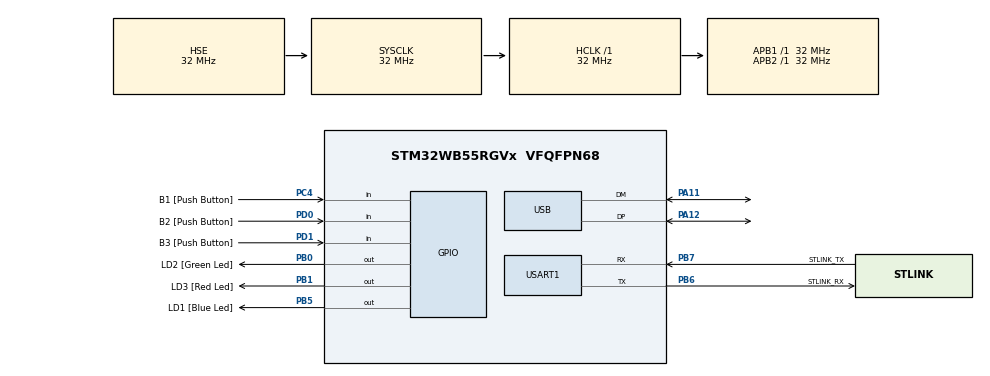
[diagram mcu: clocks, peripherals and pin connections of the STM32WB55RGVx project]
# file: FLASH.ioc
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Mcu.Family=STM32WB
Mcu.Name=STM32WB55RGVx
Mcu.Package=VFQFPN68
NVIC.PriorityGroup=NVIC_PRIORITYGROUP_4
OSC_IN.Mode=HSE-External-Oscillator
OSC_IN.Signal=RCC_OSC_IN
OSC_OUT.Mode=HSE-External-Oscillator
OSC_OUT.Signal=RCC_OSC_OUT
PA11.Mode=Device
PA11.Signal=USB_DM
PA12.Mode=Device
PA12.Signal=USB_DP
PA13.GPIO_Label=JTMS
PA13.Mode=Trace_Asynchronous_SW
PA13.Signal=SYS_JTMS-SWDIO
PA14.GPIO_Label=JTCK
PA14.Mode=Trace_Asynchronous_SW
PA14.Signal=SYS_JTCK-SWCLK
PB0.GPIO_Label=LD2 [Green Led]
PB0.Signal=GPIO_Output
PB1.GPIO_Label=LD3 [Red Led]
PB1.Signal=GPIO_Output
PB3.GPIO_Label=JTDO
PB3.Mode=Trace_Asynchronous_SW
PB3.Signal=SYS_JTDO-SWO
PB5.GPIO_Label=LD1 [Blue Led]
PB5.Signal=GPIO_Output
PB6.GPIO_Label=STLINK_RX
PB6.GPIO_PuPd=GPIO_PULLUP
PB6.Mode=Asynchronous
PB6.Signal=USART1_TX
PB7.GPIO_Label=STLINK_TX
PB7.GPIO_PuPd=GPIO_PULLUP
PB7.Mode=Asynchronous
PB7.Signal=USART1_RX
PC13.Mode=SYS_WakeUp1
PC13.Signal=SYS_WKUP2
PC14-OSC32_IN.Mode=LSE-External-Oscillator
PC14-OSC32_IN.Signal=RCC_OSC32_IN
PC15-OSC32_OUT.Mode=LSE-External-Oscillator
PC15-OSC32_OUT.Signal=RCC_OSC32_OUT
PC4.GPIO_Label=B1 [Push Button]
PC4.Signal=GPIO_Input
PD0.GPIO_Label=B2 [Push Button]
PD0.Signal=GPIO_Input
PD1.GPIO_Label=B3 [Push Button]
PD1.Signal=GPIO_Input
ProjectManager.HeapSize=0x200
ProjectManager.StackSize=0x400
ProjectManager.TargetToolchain=STM32CubeIDE
RCC.ADCFreq_Value=48000000
RCC.AHBFreq_Value=32000000
RCC.APB1Freq_Value=32000000
RCC.APB1TimFreq_Value=32000000
RCC.APB2Freq_Value=32000000
RCC.APB2TimFreq_Value=32000000
RCC.APB3Freq_Value=16000000
RCC.CortexFreq_Value=32000000
RCC.HCLKFreq_Value=32000000
RCC.HSE_VALUE=32000000
RCC.HSI48_VALUE=48000000
RCC.HSI_VALUE=16000000
RCC.LSE_Drive_Capability=RCC_LSEDRIVE_LOW
RCC.PLLN=32
RCC.PLLSAI1N=24
RCC.SMPSCLockSelectionVirtual=RCC_SMPSCLKSOURCE_HSI
RCC.SMPSCLockSelectionVirtualVirtual=RCC_SMPSCLKSOURCE_HSI
RCC.SMPSDivider=1
RCC.SYSCLKFreq_VALUE=32000000
RCC.SYSCLKSource=RCC_SYSCLKSOURCE_HSE
RCC.USBFreq_Value=48000000
RCC.VCOOutputFreq_Value=128000000
USART1.VirtualMode-Asynchronous=VM_ASYNC
USART1.WordLength=WORDLENGTH_7B
board=NUCLEO-WB55RG

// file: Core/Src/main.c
/* USER CODE BEGIN Header */
/**
  ******************************************************************************
  * @file           : main.c
  * @brief          : Main program body
  ******************************************************************************
  * @attention
  *
  * Copyright (c) 2023 STMicroelectronics.
  * All rights reserved.
  *
  * This software is licensed under terms that can be found in the LICENSE file
  * in the root directory of this software component.
  * If no LICENSE file comes with this software, it is provided AS-IS.
  *
  ******************************************************************************
  */
/* USER CODE END Header */
#include "main.h"

/* USER CODE BEGIN PD */
#define FLASH_USER_START_ADDR   ADDR_FLASH_PAGE_16   /* Start @ of user Flash area */
#define FLASH_USER_END_ADDR     (ADDR_FLASH_PAGE_127 + FLASH_PAGE_SIZE - 1)   /* End @ of user Flash area */

//#define DATA_32                 ((uint32_t)"bonjour")//0x12345678)
//#define DATA_64                 ((uint64_t)"bonjour")//0x1234567812345678)

/* USER CODE END PD */

UART_HandleTypeDef huart1;

PCD_HandleTypeDef hpcd_USB_FS;

/* USER CODE BEGIN PV */
uint32_t FirstPage = 0, NbOfPages = 0;
uint32_t Address = 0, PageError = 0;
__IO uint32_t MemoryProgramStatus = 0;
__IO uint32_t data32 = 0;

static FLASH_EraseInitTypeDef EraseInitStruct;
/* USER CODE END PV */

void SystemClock_Config(void);
void PeriphCommonClock_Config(void);
static void MX_GPIO_Init(void);
static void MX_USART1_UART_Init(void);
static void MX_USB_PCD_Init(void);
/* USER CODE BEGIN PFP */
static uint32_t GetPage(uint32_t Address);
int _write(int file, char *ptr, int len);
/* USER CODE END PFP */

/* USER CODE BEGIN 0 */
int _write(int file, char *ptr, int len)
{
	int DataIdx;
	for (DataIdx = 0; DataIdx < len; DataIdx++)
	{
		//__io_putchar(*ptr++);
		ITM_SendChar(*ptr++);
	}
	return len;
}
/* USER CODE END 0 */

int main(void)
{
  /* USER CODE BEGIN 1 */
	uint32_t DATA_32 = "bonjour";
	uint64_t DATA_64 = "bonjour";
  /* USER CODE END 1 */

  /* MCU Configuration--------------------------------------------------------*/

  /* Reset of all peripherals, Initializes the Flash interface and the Systick. */
  HAL_Init();

  /* Configure the system clock */
  SystemClock_Config();

/* Configure the peripherals common clocks */
  PeriphCommonClock_Config();

  /* Initialize all configured peripherals */
  MX_GPIO_Init();
  MX_USART1_UART_Init();
  MX_USB_PCD_Init();
  /* USER CODE BEGIN 2 */
  /* Initialize LED2, LED1 and LED3 */
    HAL_GPIO_WritePin(GPIOB, GPIO_PIN_1, RESET);
    HAL_GPIO_WritePin(GPIOB, GPIO_PIN_0, RESET);
    HAL_GPIO_WritePin(GPIOB, GPIO_PIN_5, RESET);

    /* Unlock the Flash to enable the flash control register access *************/
    HAL_FLASH_Unlock();

   /* Clear OPTVERR bit set on virgin samples */
    __HAL_FLASH_CLEAR_FLAG(FLASH_FLAG_OPTVERR);

    /* Erase the user Flash area
      (area defined by FLASH_USER_START_ADDR and FLASH_USER_END_ADDR) ***********/

    /* Get the 1st page to erase */
    FirstPage = GetPage(FLASH_USER_START_ADDR);

    /* Get the number of pages to erase from 1st page */
    NbOfPages = GetPage(FLASH_USER_END_ADDR) - FirstPage + 1;

    /* Fill EraseInit structure*/
    EraseInitStruct.TypeErase   = FLASH_TYPEERASE_PAGES;
    EraseInitStruct.Page        = FirstPage;
    EraseInitStruct.NbPages     = NbOfPages;

    /* Note: If an erase operation in Flash memory also concerns data in the data or instruction cache,
       you have to make sure that these data are rewritten before they are accessed during code
       execution. If this cannot be done safely, it is recommended to flush the caches by setting the
       DCRST and ICRST bits in the FLASH_CR register. */
    if (HAL_FLASHEx_Erase(&EraseInitStruct, &PageError) != HAL_OK)
    {
      /*
        Error occurred while  erase.
        User can add here some code to deal with this error.
        PageError will contain the faulty  and then to know the code error on this ,
        user can call function 'HAL_FLASH_GetError()'
      */
      /* Infinite loop */
      while (1)
      {
        /* Turn on LED3 */
        HAL_GPIO_TogglePin(GPIOB, GPIO_PIN_1);
      }
    }

    /* Program the user Flash area word by word
      (area defined by FLASH_USER_START_ADDR and FLASH_USER_END_ADDR) ***********/

    Address = FLASH_USER_START_ADDR;

    while (Address < FLASH_USER_END_ADDR)
    {
      if (HAL_FLASH_Program(FLASH_TYPEPROGRAM_DOUBLEWORD, Address, DATA_64) == HAL_OK)
      {
        Address = Address + 8;  /* increment to next double word*/
      }
     else
      {
        /* Error occurred while writing data in Flash memory.
           User can add here some code to deal with this error */
        while (1)
        {
          /* Turn on LED3 */
      	  HAL_GPIO_TogglePin(GPIOB, GPIO_PIN_1);
        }
      }
    }

    /* Lock the Flash to disable the flash control register access (recommended
       to protect the FLASH memory against possible unwanted operation) *********/
    HAL_FLASH_Lock();

  /* USER CODE END 2 */

  /* Infinite loop */
  while (1)
  {
	  /* Check if the programmed data is OK
	         MemoryProgramStatus = 0: data programmed correctly
	         MemoryProgramStatus != 0: number of words not programmed correctly ******/
	     Address = FLASH_USER_START_ADDR;
	     MemoryProgramStatus = 0x0;

	     uint32_t *flash_address = (uint32_t *)FLASH_USER_START_ADDR;
	     uint32_t flash_data = *flash_address;
	     printf("%s\n", flash_data);

	     while (Address < FLASH_USER_END_ADDR)
	     {
	       data32 = *(__IO uint32_t *)Address;

	       if (data32 != DATA_32)
	       {
	         MemoryProgramStatus++;
	       }
	       Address = Address + 8;
	     }

	     /*Check if there is an issue to program data*/
	     if (MemoryProgramStatus == 0)
	     {
	       /* No error detected. Switch on LED2*/
	   	  HAL_GPIO_TogglePin(GPIOB, GPIO_PIN_0);
	     }
	     else
	     {
	       /* Error detected. Switch on LED1*/
	   	  HAL_GPIO_TogglePin(GPIOB, GPIO_PIN_5);
	     }
	     HAL_Delay(5000);
	     /*Check if there is an issue to program data*/
		 if (MemoryProgramStatus == 0)
		 {
		   /* No error detected. Switch on LED2*/
		  HAL_GPIO_TogglePin(GPIOB, GPIO_PIN_0);
		 }
		 else
		 {
		   /* Error detected. Switch on LED1*/
		  HAL_GPIO_TogglePin(GPIOB, GPIO_PIN_5);
		 }

		 DATA_32 = "salut";
		 uint64_t DATA_64 = "salut";

		 HAL_FLASH_Unlock();
		 /* Clear OPTVERR bit set on virgin samples */
		     __HAL_FLASH_CLEAR_FLAG(FLASH_FLAG_OPTVERR);

		     /* Erase the user Flash area
		       (area defined by FLASH_USER_START_ADDR and FLASH_USER_END_ADDR) ***********/

		     /* Get the 1st page to erase */
		     FirstPage = GetPage(FLASH_USER_START_ADDR);

		     /* Get the number of pages to erase from 1st page */
		     NbOfPages = GetPage(FLASH_USER_END_ADDR) - FirstPage + 1;

		     /* Fill EraseInit structure*/
		     EraseInitStruct.TypeErase   = FLASH_TYPEERASE_PAGES;
		     EraseInitStruct.Page        = FirstPage;
		     EraseInitStruct.NbPages     = NbOfPages;

		     /* Note: If an erase operation in Flash memory also concerns data in the data or instruction cache,
		        you have to make sure that these data are rewritten before they are accessed during code
		        execution. If this cannot be done safely, it is recommended to flush the caches by setting the
		        DCRST and ICRST bits in the FLASH_CR register. */
		     if (HAL_FLASHEx_Erase(&EraseInitStruct, &PageError) != HAL_OK)
		     {
		       /*
		         Error occurred while  erase.
		         User can add here some code to deal with this error.
		         PageError will contain the faulty  and then to know the code error on this ,
		         user can call function 'HAL_FLASH_GetError()'
		       */
		       /* Infinite loop */
		       while (1)
		       {
		         /* Turn on LED3 */
		         HAL_GPIO_TogglePin(GPIOB, GPIO_PIN_1);
		       }
		     }
		 Address = FLASH_USER_START_ADDR;

		 while (Address < FLASH_USER_END_ADDR)
		     {
		       if (HAL_FLASH_Program(FLASH_TYPEPROGRAM_DOUBLEWORD, Address, DATA_64) == HAL_OK)
		       {
		         Address = Address + 8;  /* increment to next double word*/
		       }
		      else
		       {
		         /* Error occurred while writing data in Flash memory.
		            User can add here some code to deal with this error */
		         while (1)
		         {
		           /* Turn on LED3 */
		       	  HAL_GPIO_TogglePin(GPIOB, GPIO_PIN_1);
		         }
		       }
		     }
		 HAL_FLASH_Lock();
  }
}

void SystemClock_Config(void)
{
  RCC_OscInitTypeDef RCC_OscInitStruct = {0};
  RCC_ClkInitTypeDef RCC_ClkInitStruct = {0};

  /** Macro to configure the PLL multiplication factor
  */
  __HAL_RCC_PLL_PLLM_CONFIG(RCC_PLLM_DIV1);

  /** Macro to configure the PLL clock source
  */
  __HAL_RCC_PLL_PLLSOURCE_CONFIG(RCC_PLLSOURCE_MSI);

  /** Configure LSE Drive Capability
  */
  HAL_PWR_EnableBkUpAccess();
  __HAL_RCC_LSEDRIVE_CONFIG(RCC_LSEDRIVE_LOW);

  /** Configure the main internal regulator output voltage
  */
  __HAL_PWR_VOLTAGESCALING_CONFIG(PWR_REGULATOR_VOLTAGE_SCALE1);

  /** Initializes the RCC Oscillators according to the specified parameters
  * in the RCC_OscInitTypeDef structure.
  */
  RCC_OscInitStruct.OscillatorType = RCC_OSCILLATORTYPE_HSI|RCC_OSCILLATORTYPE_HSE
                              |RCC_OSCILLATORTYPE_LSE|RCC_OSCILLATORTYPE_MSI;
  RCC_OscInitStruct.HSEState = RCC_HSE_ON;
  RCC_OscInitStruct.LSEState = RCC_LSE_ON;
  RCC_OscInitStruct.HSIState = RCC_HSI_ON;
  RCC_OscInitStruct.MSIState = RCC_MSI_ON;
  RCC_OscInitStruct.HSICalibrationValue = RCC_HSICALIBRATION_DEFAULT;
  RCC_OscInitStruct.MSICalibrationValue = RCC_MSICALIBRATION_DEFAULT;
  RCC_OscInitStruct.MSIClockRange = RCC_MSIRANGE_6;
  RCC_OscInitStruct.PLL.PLLState = RCC_PLL_NONE;
  if (HAL_RCC_OscConfig(&RCC_OscInitStruct) != HAL_OK)
  {
    Error_Handler();
  }

  /** Configure the SYSCLKSource, HCLK, PCLK1 and PCLK2 clocks dividers
  */
  RCC_ClkInitStruct.ClockType = RCC_CLOCKTYPE_HCLK4|RCC_CLOCKTYPE_HCLK2
                              |RCC_CLOCKTYPE_HCLK|RCC_CLOCKTYPE_SYSCLK
                              |RCC_CLOCKTYPE_PCLK1|RCC_CLOCKTYPE_PCLK2;
  RCC_ClkInitStruct.SYSCLKSource = RCC_SYSCLKSOURCE_HSE;
  RCC_ClkInitStruct.AHBCLKDivider = RCC_SYSCLK_DIV1;
  RCC_ClkInitStruct.APB1CLKDivider = RCC_HCLK_DIV1;
  RCC_ClkInitStruct.APB2CLKDivider = RCC_HCLK_DIV1;
  RCC_ClkInitStruct.AHBCLK2Divider = RCC_SYSCLK_DIV1;
  RCC_ClkInitStruct.AHBCLK4Divider = RCC_SYSCLK_DIV1;

  if (HAL_RCC_ClockConfig(&RCC_ClkInitStruct, FLASH_LATENCY_1) != HAL_OK)
  {
    Error_Handler();
  }

  /** Enable MSI Auto calibration
  */
  HAL_RCCEx_EnableMSIPLLMode();
}

void PeriphCommonClock_Config(void)
{
  RCC_PeriphCLKInitTypeDef PeriphClkInitStruct = {0};

  /** Initializes the peripherals clock
  */
  PeriphClkInitStruct.PeriphClockSelection = RCC_PERIPHCLK_SMPS;
  PeriphClkInitStruct.SmpsClockSelection = RCC_SMPSCLKSOURCE_HSI;
  PeriphClkInitStruct.SmpsDivSelection = RCC_SMPSCLKDIV_RANGE0;

  if (HAL_RCCEx_PeriphCLKConfig(&PeriphClkInitStruct) != HAL_OK)
  {
    Error_Handler();
  }
}

static void MX_USART1_UART_Init(void)
{

  huart1.Instance = USART1;
  huart1.Init.BaudRate = 115200;
  huart1.Init.WordLength = UART_WORDLENGTH_7B;
  huart1.Init.StopBits = UART_STOPBITS_1;
  huart1.Init.Parity = UART_PARITY_NONE;
  huart1.Init.Mode = UART_MODE_TX_RX;
  huart1.Init.HwFlowCtl = UART_HWCONTROL_NONE;
  huart1.Init.OverSampling = UART_OVERSAMPLING_16;
  huart1.Init.OneBitSampling = UART_ONE_BIT_SAMPLE_DISABLE;
  huart1.Init.ClockPrescaler = UART_PRESCALER_DIV1;
  huart1.AdvancedInit.AdvFeatureInit = UART_ADVFEATURE_NO_INIT;
  if (HAL_UART_Init(&huart1) != HAL_OK)
  {
    Error_Handler();
  }
  if (HAL_UARTEx_SetTxFifoThreshold(&huart1, UART_TXFIFO_THRESHOLD_1_8) != HAL_OK)
  {
    Error_Handler();
  }
  if (HAL_UARTEx_SetRxFifoThreshold(&huart1, UART_RXFIFO_THRESHOLD_1_8) != HAL_OK)
  {
    Error_Handler();
  }
  if (HAL_UARTEx_DisableFifoMode(&huart1) != HAL_OK)
  {
    Error_Handler();
  }

}

static void MX_USB_PCD_Init(void)
{

  hpcd_USB_FS.Instance = USB;
  hpcd_USB_FS.Init.dev_endpoints = 8;
  hpcd_USB_FS.Init.speed = PCD_SPEED_FULL;
  hpcd_USB_FS.Init.phy_itface = PCD_PHY_EMBEDDED;
  hpcd_USB_FS.Init.Sof_enable = DISABLE;
  hpcd_USB_FS.Init.low_power_enable = DISABLE;
  hpcd_USB_FS.Init.lpm_enable = DISABLE;
  hpcd_USB_FS.Init.battery_charging_enable = DISABLE;
  if (HAL_PCD_Init(&hpcd_USB_FS) != HAL_OK)
  {
    Error_Handler();
  }

}

static void MX_GPIO_Init(void)
{
  GPIO_InitTypeDef GPIO_InitStruct = {0};

  /* GPIO Ports Clock Enable */
  __HAL_RCC_GPIOC_CLK_ENABLE();
  __HAL_RCC_GPIOB_CLK_ENABLE();
  __HAL_RCC_GPIOA_CLK_ENABLE();
  __HAL_RCC_GPIOD_CLK_ENABLE();

  /*Configure GPIO pin Output Level */
  HAL_GPIO_WritePin(GPIOB, LD2_Pin|LD3_Pin|LD1_Pin, GPIO_PIN_RESET);

  /*Configure GPIO pin : B1_Pin */
  GPIO_InitStruct.Pin = B1_Pin;
  GPIO_InitStruct.Mode = GPIO_MODE_INPUT;
  GPIO_InitStruct.Pull = GPIO_NOPULL;
  HAL_GPIO_Init(B1_GPIO_Port, &GPIO_InitStruct);

  /*Configure GPIO pins : LD2_Pin LD3_Pin LD1_Pin */
  GPIO_InitStruct.Pin = LD2_Pin|LD3_Pin|LD1_Pin;
  GPIO_InitStruct.Mode = GPIO_MODE_OUTPUT_PP;
  GPIO_InitStruct.Pull = GPIO_NOPULL;
  GPIO_InitStruct.Speed = GPIO_SPEED_FREQ_LOW;
  HAL_GPIO_Init(GPIOB, &GPIO_InitStruct);

  /*Configure GPIO pins : B2_Pin B3_Pin */
  GPIO_InitStruct.Pin = B2_Pin|B3_Pin;
  GPIO_InitStruct.Mode = GPIO_MODE_INPUT;
  GPIO_InitStruct.Pull = GPIO_NOPULL;
  HAL_GPIO_Init(GPIOD, &GPIO_InitStruct);

}

/* USER CODE BEGIN 4 */
/**
  * @brief  Gets the page of a given address
  * @param  Addr: Address of the FLASH Memory
  * @retval The page of a given address
  */
static uint32_t GetPage(uint32_t Addr)
{
  return (Addr - FLASH_BASE) / FLASH_PAGE_SIZE;;
}

/* USER CODE END 4 */

void Error_Handler(void)
{
  __disable_irq();
  while (1)
  {
  }
}
